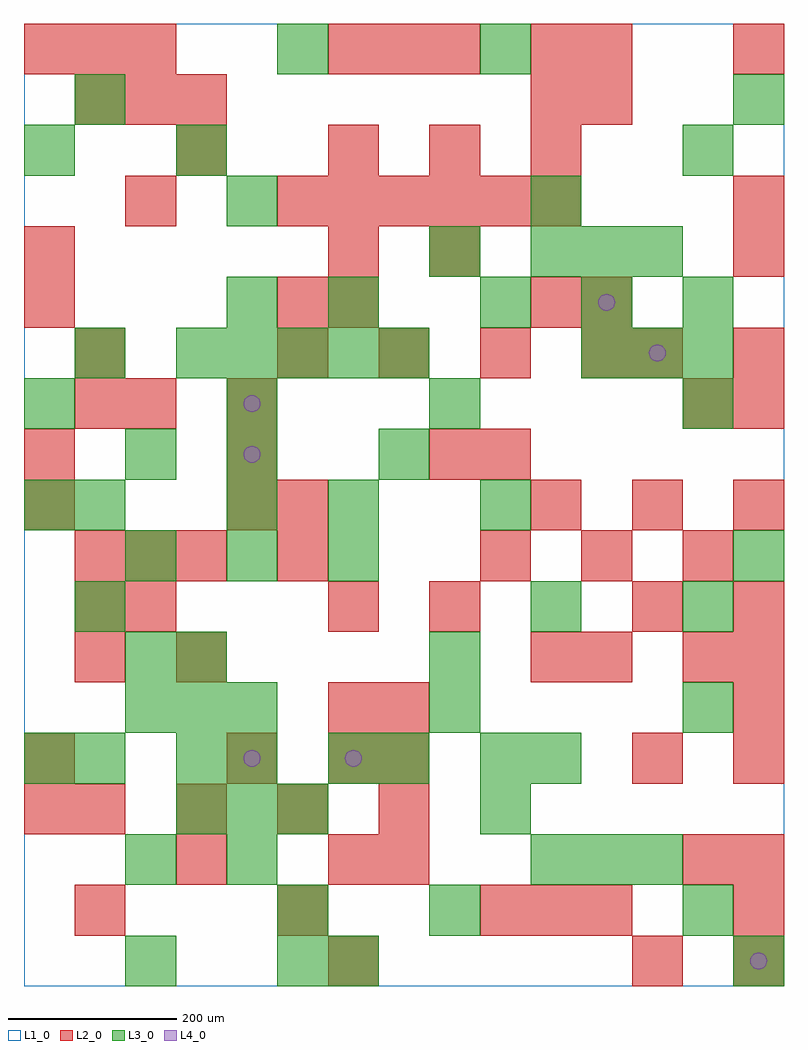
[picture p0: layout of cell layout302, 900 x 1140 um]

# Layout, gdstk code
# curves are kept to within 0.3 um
import gdstk
lib = gdstk.Library(unit=1e-6, precision=1e-09)
def R(c, l, rs):  # rectangles x0, y0, x1, y1
    for r in rs: c.add(gdstk.rectangle(r[:2], r[2:], *l))
def A(c, l, x, y, w, h, nx, ny, dx, dy):  # array of equal rectangles
    R(c, l, [(x+i*dx, y+j*dy, x+i*dx+w, y+j*dy+h) for i in range(nx) for j in range(ny)])
def P(c, l, *ps):  # polygons
    for p in ps: c.add(gdstk.Polygon(p, *l))
L1_0 = (1, 0)
L2_0 = (2, 0)
L3_0 = (3, 0)
L4_0 = (4, 0)

layout302 = lib.new_cell('layout302')
R(layout302, L1_0, [(0,0,900,1140)])
A(layout302, L2_0, 360, 0, 60, 60, 1, 3, 0, 120)
A(layout302, L2_0, 840, 0, 60, 60, 1, 3, 0, 60)
A(layout302, L2_0, 60, 60, 60, 60, 3, 1, 240, 0)
A(layout302, L2_0, 60, 180, 60, 60, 4, 1, 120, 0)
A(layout302, L2_0, 840, 240, 60, 60, 1, 4, 0, 60)
A(layout302, L2_0, 120, 420, 60, 60, 1, 3, 0, 240)
A(layout302, L2_0, 60, 480, 60, 60, 3, 2, 60, 540)
A(layout302, L2_0, 540, 480, 60, 60, 3, 1, 120, 0)
A(layout302, L2_0, 600, 540, 60, 60, 3, 1, 120, 0)
A(layout302, L2_0, 0, 600, 60, 60, 3, 1, 240, 0)
A(layout302, L2_0, 300, 720, 60, 60, 4, 1, 120, 0)
A(layout302, L2_0, 300, 900, 60, 60, 6, 1, 60, 0)
A(layout302, L2_0, 360, 960, 60, 60, 3, 1, 120, 0)
A(layout302, L2_0, 0, 1080, 60, 60, 3, 1, 60, 0)
A(layout302, L2_0, 360, 1080, 60, 60, 3, 1, 60, 0)
R(layout302, L2_0, [(720,0,780,60), (600,60,660,120), (660,60,720,120), (180,120,240,180), (420,120,480,180), (780,120,840,180), (0,180,60,240), (0,240,60,300), (240,240,300,300), (420,240,480,300), (720,240,780,300), (360,300,420,360), (420,300,480,360), (60,360,120,420), (180,360,240,420), (600,360,660,420), (660,360,720,420), (780,360,840,420), (60,420,120,480), (360,420,420,480), (480,420,540,480), (720,420,780,480), (300,480,360,540), (0,540,60,600), (240,540,300,600), (300,540,360,600), (540,600,600,660), (60,660,120,720), (240,660,300,720), (780,660,840,720), (840,660,900,720), (60,720,120,780), (720,720,780,780), (840,720,900,780), (0,780,60,840), (300,780,360,840), (360,780,420,840), (600,780,660,840), (660,780,720,840), (0,840,60,900), (360,840,420,900), (480,840,540,900), (840,840,900,900), (840,900,900,960), (180,960,240,1020), (600,1020,660,1080), (660,1020,720,1080), (600,1080,660,1140), (660,1080,720,1140), (840,1080,900,1140)])
A(layout302, L3_0, 120, 120, 60, 60, 1, 3, 0, 240)
A(layout302, L3_0, 600, 120, 60, 60, 3, 2, 60, 720)
A(layout302, L3_0, 180, 180, 60, 60, 3, 1, 60, 0)
A(layout302, L3_0, 120, 300, 60, 60, 3, 1, 60, 0)
A(layout302, L3_0, 120, 480, 60, 60, 3, 1, 120, 0)
A(layout302, L3_0, 0, 660, 60, 60, 3, 1, 240, 0)
A(layout302, L3_0, 180, 720, 60, 60, 5, 1, 60, 0)
A(layout302, L3_0, 660, 720, 60, 60, 3, 1, 60, 0)
A(layout302, L3_0, 540, 780, 60, 60, 3, 1, 120, 0)
R(layout302, L3_0, [(120,0,180,60), (300,0,360,60), (360,0,420,60), (840,0,900,60), (300,60,360,120), (480,60,540,120), (780,60,840,120), (240,120,300,180), (540,180,600,240), (0,240,60,300), (60,240,120,300), (180,240,240,300), (240,240,300,300), (360,240,420,300), (420,240,480,300), (540,240,600,300), (600,240,660,300), (480,300,540,360), (780,300,840,360), (180,360,240,420), (480,360,540,420), (60,420,120,480), (600,420,660,480), (780,420,840,480), (840,480,900,540), (0,540,60,600), (60,540,120,600), (240,540,300,600), (360,540,420,600), (540,540,600,600), (240,600,300,660), (420,600,480,660), (780,660,840,720), (60,720,120,780), (240,780,300,840), (360,780,420,840), (480,840,540,900), (240,900,300,960), (600,900,660,960), (0,960,60,1020), (180,960,240,1020), (780,960,840,1020), (60,1020,120,1080), (840,1020,900,1080), (300,1080,360,1140), (540,1080,600,1140)])
P(layout302, L4_0, [(280,270),(279.239,273.827),(277.071,277.071),(273.827,279.239),(270,280),(266.173,279.239),(262.929,277.071),(260.761,273.827),(260,270),(260.761,266.173),(262.929,262.929),(266.173,260.761),(270,260),(273.827,260.761),(277.071,262.929),(279.239,266.173)],
  [(280,630),(279.239,633.827),(277.071,637.071),(273.827,639.239),(270,640),(266.173,639.239),(262.929,637.071),(260.761,633.827),(260,630),(260.761,626.173),(262.929,622.929),(266.173,620.761),(270,620),(273.827,620.761),(277.071,622.929),(279.239,626.173)],
  [(280,690),(279.239,693.827),(277.071,697.071),(273.827,699.239),(270,700),(266.173,699.239),(262.929,697.071),(260.761,693.827),(260,690),(260.761,686.173),(262.929,682.929),(266.173,680.761),(270,680),(273.827,680.761),(277.071,682.929),(279.239,686.173)],
  [(400,270),(399.239,273.827),(397.071,277.071),(393.827,279.239),(390,280),(386.173,279.239),(382.929,277.071),(380.761,273.827),(380,270),(380.761,266.173),(382.929,262.929),(386.173,260.761),(390,260),(393.827,260.761),(397.071,262.929),(399.239,266.173)],
  [(700,810),(699.239,813.827),(697.071,817.071),(693.827,819.239),(690,820),(686.173,819.239),(682.929,817.071),(680.761,813.827),(680,810),(680.761,806.173),(682.929,802.929),(686.173,800.761),(690,800),(693.827,800.761),(697.071,802.929),(699.239,806.173)],
  [(760,750),(759.239,753.827),(757.071,757.071),(753.827,759.239),(750,760),(746.173,759.239),(742.929,757.071),(740.761,753.827),(740,750),(740.761,746.173),(742.929,742.929),(746.173,740.761),(750,740),(753.827,740.761),(757.071,742.929),(759.239,746.173)],
  [(880,30),(879.239,33.827),(877.071,37.071),(873.827,39.239),(870,40),(866.173,39.239),(862.929,37.071),(860.761,33.827),(860,30),(860.761,26.173),(862.929,22.929),(866.173,20.761),(870,20),(873.827,20.761),(877.071,22.929),(879.239,26.173)])

lib.write_gds('layout302.gds')
